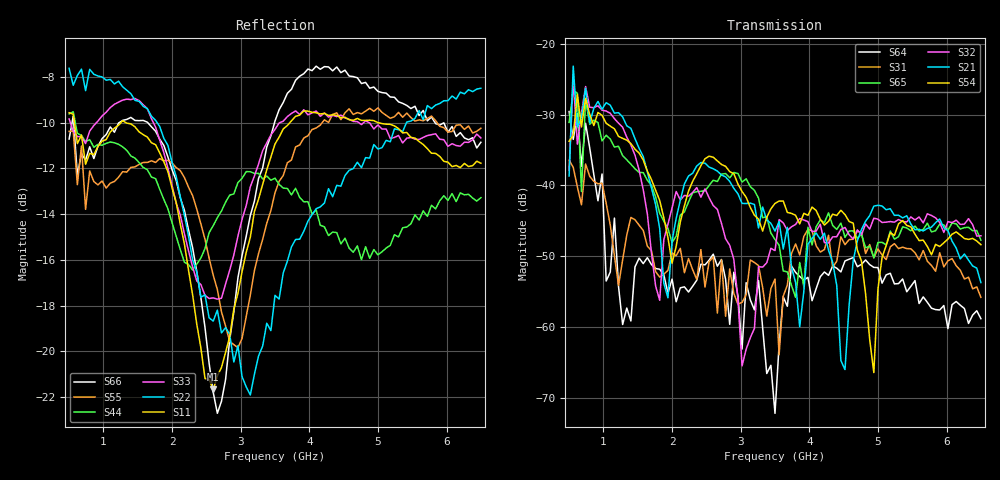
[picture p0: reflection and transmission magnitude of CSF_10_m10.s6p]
!Keysight Technologies,M9804A,MY58100912,A.14.10.03
!Date: Thursday, April 27, 2023 10:28:33
!Correction: S11(C  6-Port  )
!S12(C  6-Port  )
!S13(C  6-Port  )
!S14(C  6-Port  )
!S15(C  6-Port  )
!S16(C  6-Port  )
!S21(C  6-Port  )
!S22(C  6-Port  )
!S23(C  6-Port  )
!S24(C  6-Port  )
!S25(C  6-Port  )
!S26(C  6-Port  )
!S31(C  6-Port  )
!S32(C  6-Port  )
!S33(C  6-Port  )
!S34(C  6-Port  )
!S35(C  6-Port  )
!S36(C  6-Port  )
!S41(C  6-Port  )
!S42(C  6-Port  )
!S43(C  6-Port  )
!S44(C  6-Port  )
!S45(C  6-Port  )
!S46(C  6-Port  )
!S51(C  6-Port  )
!S52(C  6-Port  )
!S53(C  6-Port  )
!S54(C  6-Port  )
!S55(C  6-Port  )
!S56(C  6-Port  )
!S61(C  6-Port  )
!S62(C  6-Port  )
!S63(C  6-Port  )
!S64(C  6-Port  )
!S65(C  6-Port  )
!S66(C  6-Port  )
!S6P File: Measurement: :
# Hz S  RI  R 50
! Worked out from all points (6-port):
!   101 points, 500 MHz to 6.5 GHz, reference 50 ohm
!   strongest paths, dB at 500 MHz, 2 GHz, 3.5 GHz, 5 GHz, 6.5 GHz:
!     S54: -33.8, -51.0, -42.5, -54.6, -48.4
!     S21: -38.7, -47.8, -46.5, -42.8, -53.7
!     S32: -37.9, -43.2, -49.2, -44.8, -47.1
!     S65: -31.1, -48.1, -47.6, -48.1, -47.7
!     S31: -36.4, -49.5, -53.2, -49.0, -55.8
!     S64: -29.6, -53.2, -72.2, -51.6, -58.8
!   lowest |S11| = -21.7 dB at 2.6 GHz (marker M1), VSWR 1.18, Z = 42.6 + j2.04 ohm
!   |S11| at or under -10 dB: 577.6 MHz to 1.252 GHz (674.9 MHz wide, 73.8 % of centre); 1.331 GHz to 3.715 GHz (2.384 GHz wide, 94.5 % of centre); 5.01 GHz to end of sweep
